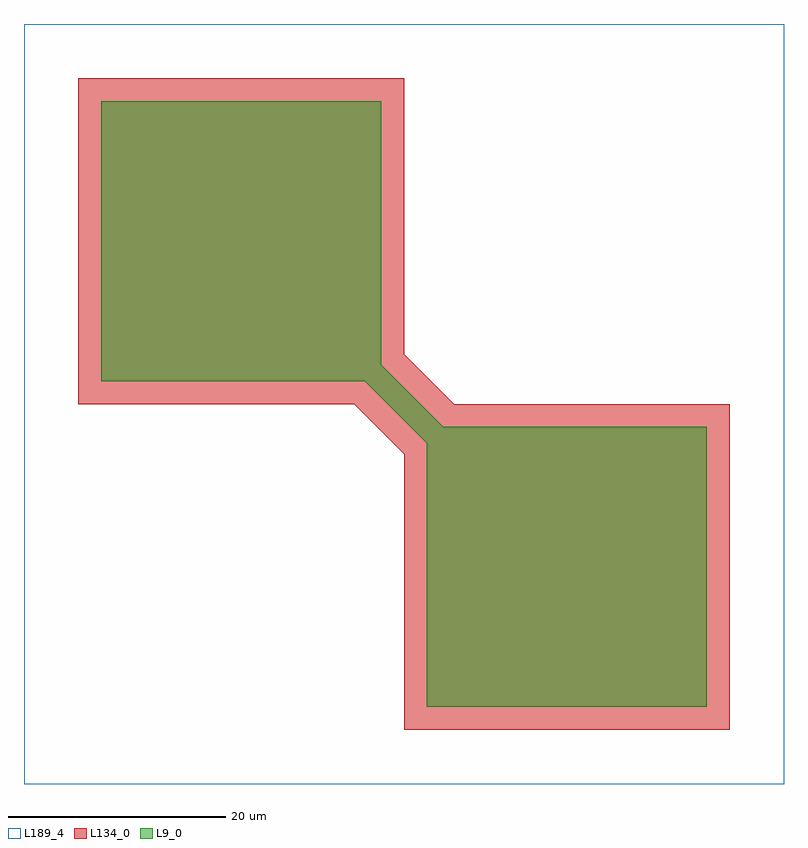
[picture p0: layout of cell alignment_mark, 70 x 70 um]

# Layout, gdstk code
import gdstk
lib = gdstk.Library(unit=1e-6, precision=1e-09)
def R(c, l, rs):  # rectangles x0, y0, x1, y1
    for r in rs: c.add(gdstk.rectangle(r[:2], r[2:], *l))
def P(c, l, *ps):  # polygons
    for p in ps: c.add(gdstk.Polygon(p, *l))
L9_0 = (9, 0)
L134_0 = (134, 0)
L189_4 = (189, 4)

alignment_mark = lib.new_cell('alignment_mark')
R(alignment_mark, L9_0, [(37.1,7.1,62.9,32.9), (7.1,37.1,32.9,62.9)])
P(alignment_mark, L9_0, [(37.1,31.4),(31.4,37.1),(32.9,38.6),(38.6,32.9)])
R(alignment_mark, L134_0, [(35,5,65,35), (5,35,35,65)])
P(alignment_mark, L134_0, [(37.1,28.3),(28.3,37.1),(32.9,41.7),(41.7,32.9)])
R(alignment_mark, L189_4, [(0,0,70,70)])

lib.write_gds('alignment_mark.gds')
